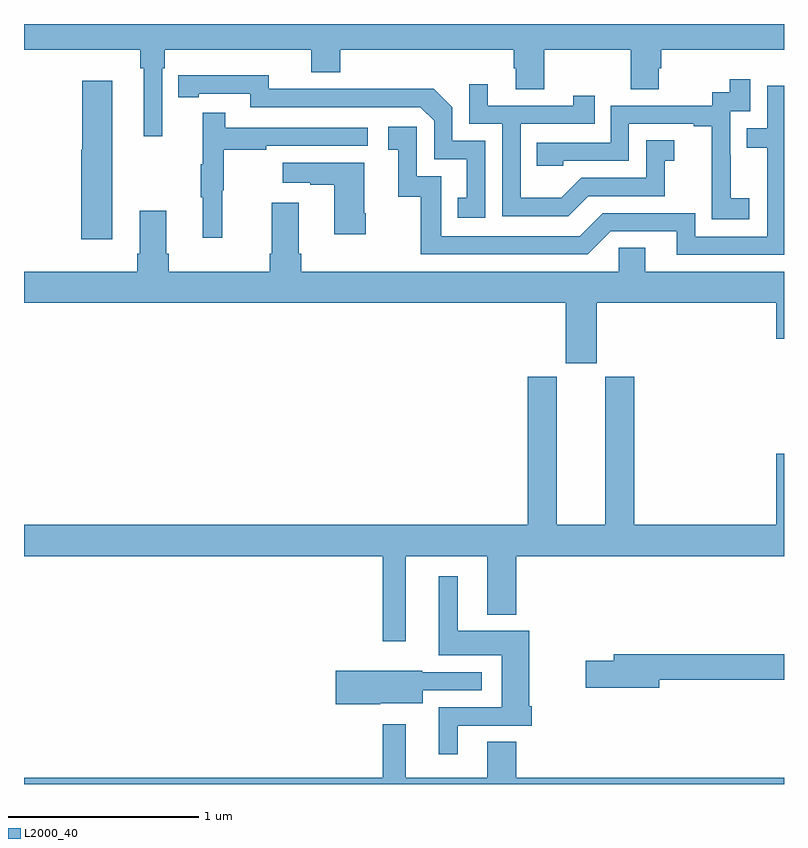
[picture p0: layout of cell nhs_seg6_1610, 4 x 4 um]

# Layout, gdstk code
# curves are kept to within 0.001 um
import gdstk
lib = gdstk.Library(unit=1e-6, precision=1e-09)
def P(c, l, *ps):  # polygons
    for p in ps: c.add(gdstk.Polygon(p, *l))
L2000_40 = (2000, 40)

nhs_seg6_1610 = lib.new_cell('nhs_seg6_1610')
P(nhs_seg6_1610, L2000_40, [(209.727,919.268),(209.741,919.268),(209.741,919.364),(210.512,919.364),(210.512,919.247),(210.665,919.247),(210.665,919.364),(211.577,919.364),(211.577,919.266),(211.589,919.266),(211.589,919.156),(211.737,919.156),(211.737,919.364),(212.194,919.364),(212.194,919.156),(212.341,919.156),(212.341,919.266),(212.354,919.266),(212.354,919.364),(213,919.364),(213,919.5),(209,919.5),(209,919.364),(209.611,919.364),(209.611,919.268),(209.63,919.268),(209.63,918.909),(209.727,918.909)],
  [(211.428,918.885),(211.254,918.885),(211.254,919.062),(211.156,919.16),(210.748,919.16),(210.748,919.158),(210.288,919.158),(210.288,919.231),(209.812,919.23),(209.812,919.114),(209.92,919.114),(209.92,919.134),(210.192,919.134),(210.192,919.062),(211.086,919.062),(211.158,918.99),(211.158,918.789),(211.331,918.789),(211.331,918.585),(211.282,918.585),(211.282,918.48),(211.428,918.48)],
  [(212.818,918.583),(212.72,918.583),(212.72,918.812),(212.718,918.812),(212.718,919.041),(212.823,919.041),(212.823,919.21),(212.715,919.21),(212.715,919.14),(212.622,919.14),(212.622,919.071),(212.088,919.071),(212.088,918.876),(211.699,918.876),(211.699,918.753),(211.839,918.753),(211.839,918.78),(212.184,918.78),(212.184,918.975),(212.525,918.975),(212.525,918.963),(212.621,918.963),(212.621,918.679),(212.62,918.679),(212.62,918.473),(212.818,918.473)],
  [(209.464,919.201),(209.306,919.201),(209.306,918.837),(209.3,918.837),(209.3,918.366),(209.464,918.366)],
  [(211.969,918.594),(212.373,918.594),(212.373,918.779),(212.422,918.779),(212.422,918.889),(212.274,918.889),(212.274,918.69),(211.932,918.69),(211.828,918.586),(211.614,918.586),(211.614,918.975),(212.003,918.975),(212.003,919.123),(211.892,919.123),(211.892,919.071),(211.441,919.071),(211.441,919.183),(211.344,919.183),(211.344,918.975),(211.518,918.975),(211.518,918.489),(211.864,918.489)],
  [(213,919.176),(212.913,919.176),(212.913,918.951),(212.803,918.951),(212.803,918.85),(212.913,918.85),(212.913,918.381),(212.532,918.381),(212.532,918.504),(212.046,918.504),(211.926,918.384),(211.197,918.384),(211.197,918.699),(211.068,918.699),(211.068,918.958),(210.918,918.958),(210.918,918.837),(210.971,918.837),(210.971,918.591),(211.089,918.591),(211.089,918.288),(211.968,918.288),(212.088,918.408),(212.435,918.408),(212.435,918.285),(213,918.285)],
  [(210.044,918.624),(210.052,918.624),(210.052,918.838),(210.275,918.838),(210.275,918.858),(210.808,918.858),(210.808,918.954),(210.059,918.954),(210.059,919.033),(209.942,919.033),(209.942,918.761),(209.931,918.761),(209.931,918.587),(209.942,918.587),(209.942,918.375),(210.044,918.375)],
  [(210.798,918.505),(210.79,918.505),(210.79,918.769),(210.363,918.769),(210.363,918.665),(210.506,918.665),(210.506,918.655),(210.632,918.655),(210.632,918.393),(210.798,918.393)],
  [(212.014,918.032),(212.96,918.032),(212.96,917.844),(213,917.844),(213,918.196),(212.269,918.196),(212.269,918.323),(212.13,918.323),(212.13,918.196),(210.458,918.196),(210.458,918.292),(210.445,918.292),(210.445,918.559),(210.305,918.559),(210.305,918.292),(210.293,918.292),(210.293,918.196),(209.762,918.196),(209.762,918.292),(209.749,918.292),(209.749,918.517),(209.609,918.517),(209.609,918.292),(209.597,918.292),(209.597,918.196),(209,918.196),(209,918.032),(211.85,918.032),(211.85,917.715),(212.014,917.715)],
  [(211.009,916.7),(211.439,916.7),(211.439,916.391),(211.592,916.391),(211.592,916.7),(213,916.7),(213,917.239),(212.96,917.239),(212.96,916.864),(212.213,916.864),(212.213,917.643),(212.06,917.643),(212.06,916.864),(211.804,916.864),(211.804,917.643),(211.652,917.643),(211.652,916.864),(209,916.864),(209,916.7),(210.888,916.7),(210.888,916.251),(211.009,916.251)],
  [(211.282,915.807),(211.673,915.807),(211.673,915.91),(211.66,915.91),(211.66,916.306),(211.282,916.306),(211.282,916.594),(211.184,916.594),(211.184,916.178),(211.514,916.178),(211.514,915.903),(211.184,915.903),(211.184,915.657),(211.282,915.657)],
  [(212.344,916.048),(213,916.048),(213,916.184),(212.105,916.184),(212.105,916.148),(211.956,916.148),(211.956,916.006),(212.344,916.006)],
  [(210.876,915.926),(211.099,915.926),(211.099,915.993),(211.408,915.993),(211.408,916.089),(211.095,916.089),(211.095,916.097),(210.642,916.097),(210.642,915.919),(210.876,915.919)],
  [(213,915.532),(211.592,915.532),(211.592,915.722),(211.439,915.722),(211.439,915.532),(211.009,915.532),(211.009,915.814),(210.888,915.814),(210.888,915.532),(209,915.532),(209,915.5),(213,915.5)])

lib.write_gds('nhs_seg6_1610.gds')
